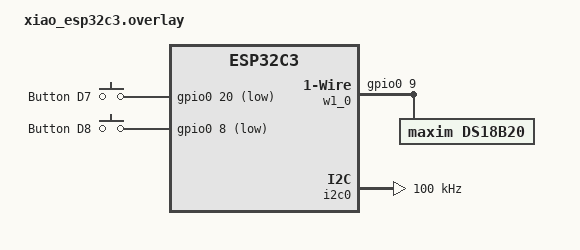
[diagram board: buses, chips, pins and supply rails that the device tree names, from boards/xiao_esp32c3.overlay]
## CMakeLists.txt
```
# SPDX-License-Identifier: Apache-2.0
set(ZEPHYR_EXTRA_MODULES
    ${CMAKE_CURRENT_SOURCE_DIR}/modules/u8g2
)

cmake_minimum_required(VERSION 3.20.0)

find_package(Zephyr REQUIRED HINTS $ENV{ZEPHYR_BASE})
project(hello_world)

target_sources(app PRIVATE src/main.c)
```

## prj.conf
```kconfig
CONFIG_GPIO=y
CONFIG_SERIAL=y
CONFIG_CONSOLE=y
CONFIG_PRINTK=y

CONFIG_LOG=y
CONFIG_LOG_DEFAULT_LEVEL=3

CONFIG_W1=y
CONFIG_SENSOR=y
CONFIG_DS18B20=y

CONFIG_SENSOR_LOG_LEVEL_DBG=y

CONFIG_ADC=y
CONFIG_ADC_ESP32=y

CONFIG_I2C=y
CONFIG_I2C_ESP32=y
```

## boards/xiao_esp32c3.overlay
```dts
/ {
    buttons {
        compatible = "gpio-keys";

        button_d7: button_d7 {
            gpios = <&gpio0 20 (GPIO_PULL_UP | GPIO_ACTIVE_LOW)>;
            label = "Button D7";
        };

        button_d8: button_d8 {
            gpios = <&gpio0 8 (GPIO_PULL_UP | GPIO_ACTIVE_LOW)>;
            label = "Button D8";
        };
    };

    w1_0: onewire {
        compatible = "zephyr,w1-gpio";
        gpios = <&gpio0 9 (GPIO_OPEN_DRAIN | GPIO_PULL_UP)>;
        status = "okay";

        ds18b20: temperature {
            compatible = "maxim,ds18b20";
            resolution = <12>;
        };
    };
};

&pinctrl {
    i2c0_default: i2c0_default {
        group1 {
            pinmux = <I2C0_SDA_GPIO7>, <I2C0_SCL_GPIO6>;
            bias-pull-up;
        };
    };
};

&i2c0 {
    status = "okay";
    clock-frequency = <I2C_BITRATE_STANDARD>;
    pinctrl-0 = <&i2c0_default>;
    pinctrl-names = "default";
};
```

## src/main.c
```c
#include <zephyr/kernel.h>
#include <zephyr/device.h>
#include <zephyr/drivers/gpio.h>
#include <zephyr/drivers/sensor.h>
#include <zephyr/drivers/i2c.h>
#include <zephyr/sys/printk.h>

#include <string.h>
#include <stdio.h>

#include "u8g2.h"

/* ---------------- BUTTONS ---------------- */
#define BUTTON_D7_NODE DT_NODELABEL(button_d7)
#define BUTTON_D8_NODE DT_NODELABEL(button_d8)

static const struct gpio_dt_spec button_d7 =
    GPIO_DT_SPEC_GET(BUTTON_D7_NODE, gpios);

static const struct gpio_dt_spec button_d8 =
    GPIO_DT_SPEC_GET(BUTTON_D8_NODE, gpios);

/* ---------------- DS18B20 ---------------- */
#define TEMP_NODE DT_NODELABEL(ds18b20)
static const struct device *temp_dev = DEVICE_DT_GET(TEMP_NODE);

/* ---------------- I2C ---------------- */
#define I2C_NODE DT_NODELABEL(i2c0)
static const struct device *i2c_dev = DEVICE_DT_GET(I2C_NODE);

/* ---------------- U8G2 ---------------- */
static u8g2_t u8g2;

/* ---------------- U8G2 HAL ---------------- */
uint8_t u8x8_byte_zephyr_i2c(u8x8_t *u8x8,
                             uint8_t msg,
                             uint8_t arg_int,
                             void *arg_ptr)
{
    static uint8_t buffer[32];
    static uint8_t idx;
    const struct device *i2c = u8x8_GetUserPtr(u8x8);

    switch (msg)
    {
    case U8X8_MSG_BYTE_INIT:
        idx = 0;
        break;

    case U8X8_MSG_BYTE_START_TRANSFER:
        idx = 0;
        break;

    case U8X8_MSG_BYTE_SEND:
        memcpy(&buffer[idx], arg_ptr, arg_int);
        idx += arg_int;
        break;

    case U8X8_MSG_BYTE_END_TRANSFER:
        i2c_write(i2c, buffer, idx, u8x8->i2c_address >> 1);
        break;

    default:
        return 0;
    }
    return 1;
}

uint8_t u8x8_gpio_and_delay_zephyr(u8x8_t *u8x8,
                                   uint8_t msg,
                                   uint8_t arg_int,
                                   void *arg_ptr)
{
    switch (msg)
    {
    case U8X8_MSG_DELAY_MILLI:
        k_msleep(arg_int);
        break;

    case U8X8_MSG_DELAY_10MICRO:
        k_busy_wait(10);
        break;

    case U8X8_MSG_DELAY_100NANO:
        k_busy_wait(1);
        break;

    default:
        break;
    }
    return 1;
}

/* ---------------- DISPLAY INIT ---------------- */
void display_init(void)
{
    if (!device_is_ready(i2c_dev)) {
        printk("I2C not ready for display\n");
        return;
    }

    u8g2_Setup_ssd1306_i2c_128x64_noname_f(
        &u8g2,
        U8G2_R0,
        u8x8_byte_zephyr_i2c,
        u8x8_gpio_and_delay_zephyr
    );

    u8x8_SetUserPtr(&u8g2.u8x8, (void *)i2c_dev);
    u8x8_SetI2CAddress(&u8g2.u8x8, 0x3C << 1);

    u8g2_InitDisplay(&u8g2);
    u8g2_SetPowerSave(&u8g2, 0);
}

/* ---------------- DISPLAY UPDATE ---------------- */
void display_update(int d7, int d8, int temp_valid, struct sensor_value *temp)
{
    char line1[32];
    char line2[32];

    if (temp_valid) {
        snprintf(line1, sizeof(line1), "Temp: %d.%02d C",
                 temp->val1, temp->val2 / 10000);
    } else {
        snprintf(line1, sizeof(line1), "Temp: ERR");
    }

    snprintf(line2, sizeof(line2), "D7:%d D8:%d", d7, d8);

    u8g2_ClearBuffer(&u8g2);

    u8g2_SetFont(&u8g2, u8g2_font_ncenB08_tr);
    u8g2_DrawStr(&u8g2, 0, 15, line1);
    u8g2_DrawStr(&u8g2, 0, 35, line2);

    u8g2_SendBuffer(&u8g2);
}

/* ---------------- I2C SCAN ---------------- */
static void i2c_scan(const struct device *dev)
{
    printk("\nI2C Scan Start...\n");

    if (!device_is_ready(dev)) {
        printk("I2C device not ready!\n");
        return;
    }

    int found = 0;

    for (uint8_t addr = 0x03; addr <= 0x77; addr++) {
        if (i2c_write(dev, NULL, 0, addr) == 0) {
            printk("Found device at 0x%02X\n", addr);
            found++;
        }
    }

    printk(found ? "Total devices: %d\n" : "No I2C devices found\n", found);
    printk("I2C Scan Done\n\n");
}

/* ---------------- MAIN ---------------- */
int main(void)
{
    printk("Multi-test: Buttons + DS18B20 + I2C + OLED\n");

    gpio_pin_configure_dt(&button_d7, GPIO_INPUT);
    gpio_pin_configure_dt(&button_d8, GPIO_INPUT);

    if (!device_is_ready(temp_dev)) {
        printk("DS18B20 not ready\n");
    }

    if (!device_is_ready(i2c_dev)) {
        printk("I2C not ready\n");
    } else {
        i2c_scan(i2c_dev);
    }

    display_init();

    while (1)
    {
        int d7 = gpio_pin_get_dt(&button_d7);
        int d8 = gpio_pin_get_dt(&button_d8);

        struct sensor_value temp;
        int temp_valid = 0;

        if (sensor_sample_fetch(temp_dev) == 0)
        {
            k_msleep(800);

            if (sensor_channel_get(temp_dev,
                                   SENSOR_CHAN_AMBIENT_TEMP,
                                   &temp) == 0)
            {
                temp_valid = 1;
            }
        }

        printk("D7:%d D8:%d | ", d7, d8);

        if (temp_valid) {
            printk("Temp:%d.%06dC\n", temp.val1, temp.val2);
        } else {
            printk("Temp:ERR\n");
        }

        /* 🔥 Display update */
        display_update(d7, d8, temp_valid, &temp);

        k_sleep(K_SECONDS(2));
    }
}
```
